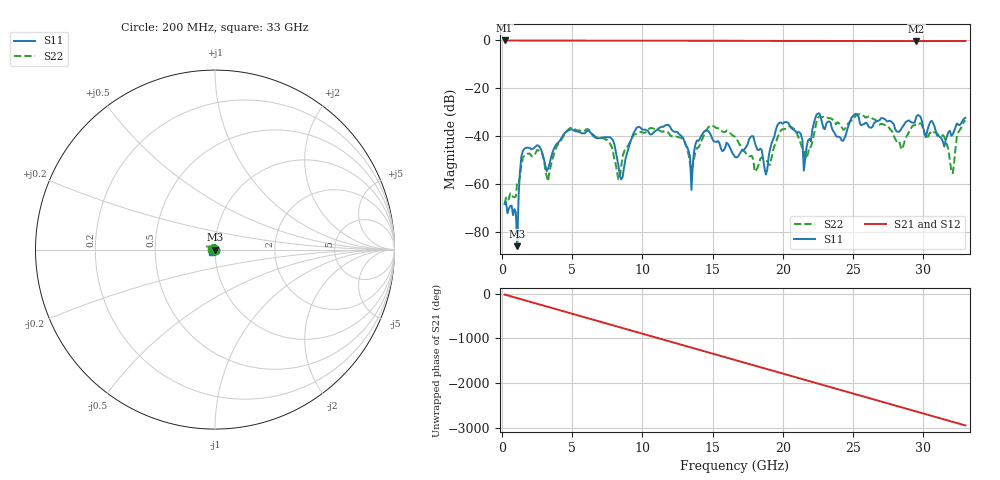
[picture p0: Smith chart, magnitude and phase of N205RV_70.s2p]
# GHZ S RI R 50
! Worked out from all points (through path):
!   329 points, 200 MHz to 33 GHz, reference 50 ohm
!   highest |S21| = -0.02 dB at 200 MHz (marker M1); lowest = -0.3 dB at 29.5 GHz (marker M2)
!   group delay of S21, straight-line fit = 248 ps
!   lowest |S11| = -86.1 dB at 1.1 GHz (marker M3), VSWR 1.00, Z = 50 - j0.00405 ohm
!   |S11| at or under -10 dB: start of sweep to end of sweep
!   |S22| runs from -68.6 to -30.8 dB; largest |S21 - S12| = 0.0019
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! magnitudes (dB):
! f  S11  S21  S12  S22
! 200 MHz  -68.4  0.0  0.0  -68.6
! 1.1 GHz  -86.1  -0.1  -0.1  -59.1
! 1.5 GHz  -46.2  -0.1  -0.1  -49.0
! 3.3 GHz  -53.5  -0.1  -0.1  -58.9
! 5.7 GHz  -38.9  -0.1  -0.1  -37.9
! 7.9 GHz  -41.6  -0.1  -0.1  -46.0
! 8.5 GHz  -58.2  -0.1  -0.1  -52.7
! 9.6 GHz  -36.5  -0.2  -0.2  -38.8
! 11.2 GHz  -36.7  -0.2  -0.2  -37.7
! 12.9 GHz  -40.8  -0.1  -0.1  -41.4
! 13.5 GHz  -62.5  -0.2  -0.2  -54.4
! 14.5 GHz  -37.6  -0.1  -0.1  -38.0
! 16.6 GHz  -48.8  -0.2  -0.2  -40.3
! 17.9 GHz  -40.2  -0.2  -0.2  -49.9
! 18.8 GHz  -56.1  -0.2  -0.2  -50.4
! 20.2 GHz  -34.1  -0.2  -0.2  -36.9
! 21.5 GHz  -54.5  -0.2  -0.2  -46.2
! 22.1 GHz  -37.6  -0.2  -0.2  -42.5
! 27.6 GHz  -33.5  -0.3  -0.3  -36.8
! 29.5 GHz  -32.0  -0.3  -0.3  -35.0
! 32.1 GHz  -39.3  -0.2  -0.2  -55.6
! 33 GHz  -32.4  -0.2  -0.2  -33.4
